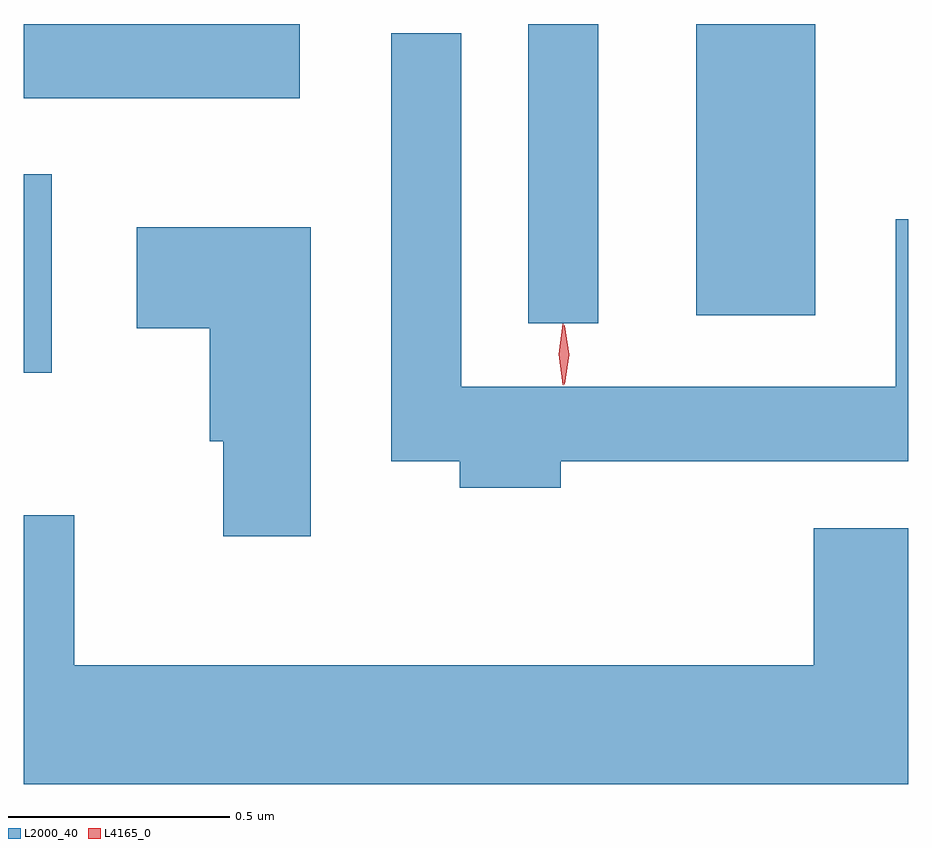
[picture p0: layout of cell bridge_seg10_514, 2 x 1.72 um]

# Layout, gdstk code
import gdstk
lib = gdstk.Library(unit=1e-6, precision=1e-09)
def R(c, l, rs):  # rectangles x0, y0, x1, y1
    for r in rs: c.add(gdstk.rectangle(r[:2], r[2:], *l))
def P(c, l, *ps):  # polygons
    for p in ps: c.add(gdstk.Polygon(p, *l))
L2000_40 = (2000, 40)
L4165_0 = (4165, 0)

bridge_seg10_514 = lib.new_cell('bridge_seg10_514')
R(bridge_seg10_514, L2000_40, [(907.855,2174.786,907.919,2175.234), (908.996,2174.898,909.154,2175.574), (909.376,2174.916,909.644,2175.574), (907.855,2175.406,908.479,2175.574)])
P(bridge_seg10_514, L2000_40, [(909.069,2174.586),(909.855,2174.586),(909.855,2175.133),(909.826,2175.133),(909.826,2174.754),(908.844,2174.754),(908.844,2175.553),(908.686,2175.553),(908.686,2174.586),(908.841,2174.586),(908.841,2174.526),(909.069,2174.526)],
  [(908.504,2175.114),(908.111,2175.114),(908.111,2174.886),(908.276,2174.886),(908.276,2174.631),(908.306,2174.631),(908.306,2174.416),(908.504,2174.416)],
  [(909.855,2174.434),(909.641,2174.434),(909.641,2174.124),(907.969,2174.124),(907.969,2174.464),(907.855,2174.464),(907.855,2173.856),(909.855,2173.856)])
P(bridge_seg10_514, L4165_0, [(909.075,2174.757),(909.074,2174.758),(909.065,2174.827),(909.074,2174.896),(909.075,2174.896),(909.075,2174.896),(909.085,2174.827),(909.075,2174.758)],
  [(909.077,2174.76),(909.068,2174.826),(909.077,2174.892),(909.078,2174.893),(909.078,2174.892),(909.088,2174.826),(909.078,2174.76),(909.078,2174.76)])

lib.write_gds('bridge_seg10_514.gds')
